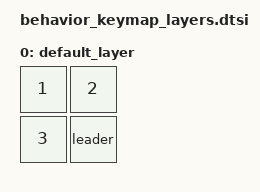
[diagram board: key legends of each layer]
#include <dt-bindings/zmk/keys.h>
#include <behaviors.dtsi>
#include <dt-bindings/zmk/kscan_mock.h>

/ {
    leader-sequences {
        compatible = "zmk,leader-sequences";

        leader_seq_one {
            key-positions = <0>;
            bindings = <&kp A>;
            layers = <2>;
        };

        leader_seq_two {
            key-positions = <1>;
            bindings = <&kp B>;
        };

    };

    keymap {
        compatible = "zmk,keymap";
        label ="Default keymap";

        default_layer {
            bindings = <
                &kp N1 &kp N2
                &kp N3 &leader
            >;
        };
    };
};
